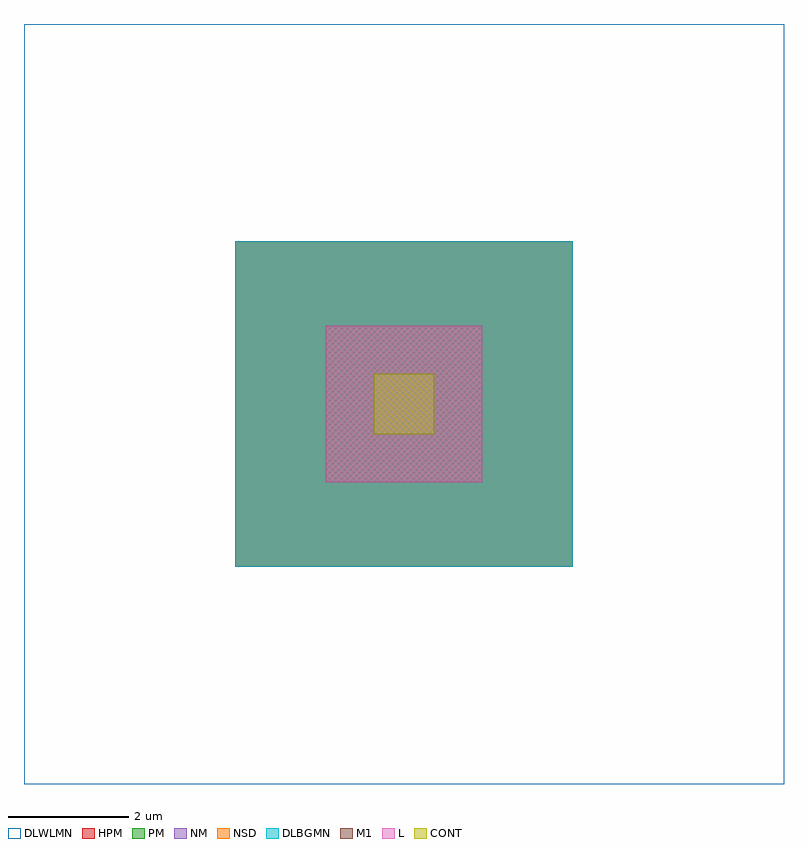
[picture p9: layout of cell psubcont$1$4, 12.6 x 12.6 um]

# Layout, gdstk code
import gdstk
lib = gdstk.Library(unit=1e-6, precision=1e-09)
def R(c, l, rs):  # rectangles x0, y0, x1, y1
    for r in rs: c.add(gdstk.rectangle(r[:2], r[2:], *l))
L = (3, 0)
NM = (7, 0)
CONT = (11, 0)
M1 = (13, 0)
NSD = (28, 0)
HPM = (33, 0)
PM = (35, 0)
DLWLMN = (151, 0)
DLBGMN = (178, 0)

dcont_1_4 = lib.new_cell('DCONT$1$4')
R(dcont_1_4, L, [(-1.3,-1.3,1.3,1.3)])
R(dcont_1_4, CONT, [(-0.5,-0.5,0.5,0.5)])
R(dcont_1_4, M1, [(-1.3,-1.3,1.3,1.3), (-0.5,-0.5,0.5,0.5)])

psubcont_1_4 = lib.new_cell('psubcont$1$4')
R(psubcont_1_4, NM, [(-2.8,-2.7,2.8,2.7)])
R(psubcont_1_4, NSD, [(-2.8,-2.7,2.8,2.7)])
R(psubcont_1_4, HPM, [(-2.8,-2.7,2.8,2.7)])
R(psubcont_1_4, PM, [(-2.8,-2.7,2.8,2.7)])
R(psubcont_1_4, DLWLMN, [(-6.3,-6.3,6.3,6.3)])
R(psubcont_1_4, DLBGMN, [(-2.8,-2.7,2.8,2.7)])
psubcont_1_4.add(gdstk.Reference(dcont_1_4, (0,0)))

lib.write_gds('psubcont_1_4.gds')
